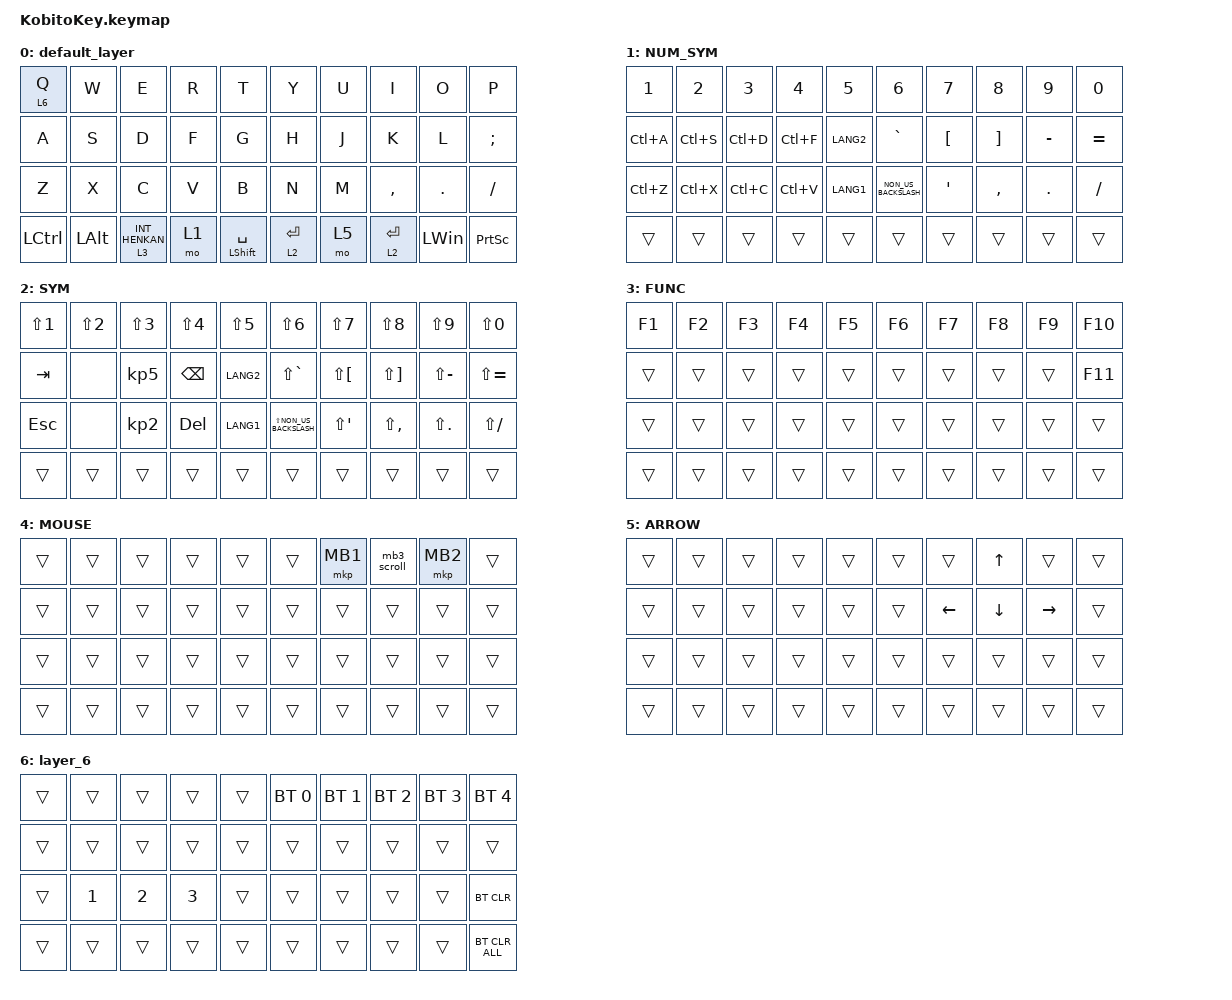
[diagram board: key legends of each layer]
#include <input/processors.dtsi>
#include <behaviors/rgbled_widget.dtsi>
#include <behaviors.dtsi>
#include <dt-bindings/zmk/bt.h>
#include <dt-bindings/zmk/keys.h>
#include <dt-bindings/zmk/pointing.h>

/ {
    /*
     * ジェスチャーパッド。
     *
     * gesture_left / gesture_right の中に zone1, zone2, ... と書いた数が、
     * そのままパッドの分割数になる(1〜5)。zone1 が一番上で、下へ順に並べる。
     * 解除の長押しをした位置のゾーンが、解除後に使われる。
     *
     * 各ゾーンの書き方:
     *
     *   zoneN {
     *       mode = "step";                          // 省略すると "step"
     *       bindings = <上げ 下げ ダブルタップ>;   // ちょうど3つ。使わないものは &none
     *       led-color = <3>;                        // 省略すると上から緑・黄・赤・マゼンタ・青
     *   };
     *
     * mode = "scroll" のゾーンは、マウスのホイールを直接動かすので、bindings を
     * 書かなくてよい(書けば、3つ目がダブルタップになる)。
     *
     * mode:
     *   "step"       なぞった量だけ、目盛りごとに連続して出す(音量など)。
     *                はじいても何も足さない
     *   "flick"      1回のスワイプで1回だけ出す(曲送りなど)
     *   "step-flip"  "step" と同じ動きに、はじいて離したとき一気に数段足す動きを
     *                加える。はじきの有無だけが "step" との違い
     *   "scroll"     なぞった量だけ、マウスのホイールを直接動かす
     *   "tap"        このゾーンで解除すると、パッド全体が選択肢の数に分かれ、長押しして
     *                振動が入ったとき、触れた場所の選択肢(bindings が上から順)を入力する
     *                (ダブルタップで double-bindings)
     *   "cycle"      選択肢をフリックで順に切り替える(上へ=次、下へ=前)。ダブルタップで
     *                反対側(double-bindings)と元を行き来する
     *
     * 「上げ」は、パッドを物理的に上へなぞった向き(右手・左手とも同じ)。
     * led-color は bit0 赤, bit1 緑, bit2 青(1=赤 2=緑 3=黄 4=青 5=マゼンタ 6=水色 7=白)。
     */
    gesture_left: gesture_left {
        compatible = "kobitokey,gesture-zones";

        zone1 {
            /* 輝度 */
            mode = "step";
            bindings = <&kp C_BRI_UP &kp C_BRI_DN &none>;
        };
        zone2 {
            /* 音量(ダブルタップでミュート) */
            mode = "step";
            bindings = <&kp C_VOL_UP &kp C_VOL_DN &kp C_MUTE>;
        };
    };

    gesture_right: gesture_right {
        compatible = "kobitokey,gesture-zones";

        zone1 {
            /*
             * Rhino のビューポートのタブ(画面右下の Perspective / Top / Front / Right)の
             * 切り替え。このゾーンで解除したあと、フリックで順に切り替える
             * (上へ=次、下へ=前。Perspective → Top → Front → Right → Perspective)。
             * ダブルタップは使わない(反対側のビューはタブにないため)。
             *
             * 送るのは Ctrl+Command+1〜4(Rhino 側の内部名は MacControlCommand1〜4)。
             * Rhino 側に、このキーのショートカットを登録しておく必要がある
             * (rhino_set_view_shortcuts.py を Rhino で1回実行する)。
             *   1 Perspective / 2 Top / 3 Front / 4 Right
             */
            mode = "cycle";
            bindings = <&kp LC(LG(N1)) &kp LC(LG(N2)) &kp LC(LG(N3)) &kp LC(LG(N4))>;
        };
        zone2 {
            /*
             * 選択肢(Claude Code デスクトップアプリの承認)。このゾーンで解除すると、
             * パッド全体が3つに分かれ(上から 1, 2, 3)、選びたい場所を長押しして
             * 振動が入ったとき、そのキーが入力される(入力しても、ロックは続く)。
             *   上 1(拒否)
             *   中 2(常に許可)
             *   下 3(一度だけ許可)
             * ⌘Enter / ⌘Shift+Enter は、画面によって意味が変わる・効かないので、番号キーにした。
             */
            mode = "tap";
            bindings = <&kp N1 &kp N2 &kp N3>;
        };
        zone3 {
            /* 曲送り(1回のスワイプで1曲、ダブルタップで再生/停止) */
            mode = "flick";
            bindings = <&kp C_NEXT &kp C_PREV &kp C_PP>;
        };
    };
};

/ {
    combos {
        compatible = "zmk,combos";

        combo_eisu {
            timeout-ms = <50>;
            key-positions = <12 13>;
            bindings = <&kp LANG2>;
        };

        combo_kana {
            timeout-ms = <50>;
            key-positions = <16 17>;
            bindings = <&kp LANG1>;
        };

        combo_esc {
            timeout-ms = <50>;
            key-positions = <0 1>;
            bindings = <&kp ESC>;
        };

        combo_tab {
            timeout-ms = <50>;
            key-positions = <10 11>;
            bindings = <&kp TAB>;
        };
    };

    macros {
        to_layer_0: to_layer_0 {
            compatible = "zmk,behavior-macro-one-param";
            #binding-cells = <1>;
            bindings = <&to 0 &macro_param_1to1 &kp MACRO_PLACEHOLDER>;
            label = "TO_LAYER_0";
        };

        /* Hold the scroll layer without sending MB3 to the host. */
        mb3_scroll: mb3_scroll {
            compatible = "zmk,behavior-macro";
            #binding-cells = <0>;
            wait-ms = <0>;
            tap-ms = <0>;
            bindings = <&macro_press &mo 6>,
                       <&macro_pause_for_release>,
                       <&macro_release &mo 6>;
        };
    };

    behaviors {
        td0: tap_dance_0 {
            compatible = "zmk,behavior-tap-dance";
            #binding-cells = <0>;
            tapping-term-ms = <200>;
            bindings = <&kp LCMD>, <&to 0>;
        };

        lt_to_layer_0: lt_to_layer_0 {
            compatible = "zmk,behavior-hold-tap";
            label = "LAYER_TAP_TO_0";
            bindings = <&mo>, <&to_layer_0>;

            #binding-cells = <2>;
            tapping-term-ms = <100>;
        };

        q_layer_tap: q_layer_tap {
            compatible = "zmk,behavior-hold-tap";
            label = "Q_LAYER_TAP_TO_0";
            flavor = "tap-preferred";
            bindings = <&mo>, <&to_layer_0>;

            #binding-cells = <2>;
            tapping-term-ms = <200>;
        };

        lt2_tap_preferred: lt2_tap_preferred {
            compatible = "zmk,behavior-hold-tap";
            #binding-cells = <2>;
            flavor = "tap-preferred";
            tapping-term-ms = <200>;
            quick-tap-ms = <200>;
            bindings = <&mo>, <&kp>;
        };
    };

    keymap {
        compatible = "zmk,keymap";

        default_layer {
            bindings = <
&q_layer_tap 6 Q     &kp W         &kp E                       &kp R &kp T                   &kp Y         &kp U    &kp I        &kp O        &kp P
&kp A               &kp S         &kp D                       &kp F &kp G                   &kp H         &kp J    &kp K        &kp L        &kp SEMICOLON
&kp Z               &kp X         &kp C                       &kp V &kp B                   &kp N         &kp M    &kp COMMA    &kp DOT      &kp SLASH
&kp LCTRL           &kp LEFT_ALT  &lt_to_layer_0 3 INT_HENKAN &mo 1 &mt LEFT_SHIFT SPACE    &lt2_tap_preferred 2 ENTER   &mo 5    &lt2_tap_preferred 2 ENTER  &kp LEFT_WIN &kp PRINTSCREEN
            >;
        };

        layer1 {
            label = "NUM_SYM";
            bindings = <
&kp NUMBER_1  &kp NUMBER_2  &kp NUMBER_3  &kp NUMBER_4  &kp NUMBER_5   &kp NUMBER_6          &kp NUMBER_7      &kp NUMBER_8       &kp NUMBER_9  &kp NUMBER_0
&kp LC(A)     &kp LC(S)     &kp LC(D)     &kp LC(F)     &kp LANG2      &kp GRAVE             &kp LEFT_BRACKET  &kp RIGHT_BRACKET  &kp MINUS     &kp EQUAL
&kp LC(Z)     &kp LC(X)     &kp LC(C)     &kp LC(V)     &kp LANG1      &kp NON_US_BACKSLASH  &kp SQT           &kp COMMA          &kp PERIOD    &kp SLASH
&trans        &trans        &trans        &trans        &trans         &trans                &trans            &trans             &trans        &trans
            >;
        };

        layer2 {
            label = "SYM";
            bindings = <
&kp LS(NUMBER_1)  &kp LS(NUMBER_2)  &kp LS(NUMBER_3)  &kp LS(NUMBER_4)  &kp LS(NUMBER_5)       &kp LS(NUMBER_6)          &kp LS(NUMBER_7)      &kp LS(NUMBER_8)       &kp LS(NUMBER_9)  &kp LS(NUMBER_0)
&kp TAB           &none             &kp KP_NUMBER_5   &kp BACKSPACE     &kp LANG2              &kp LS(GRAVE)             &kp LS(LEFT_BRACKET)  &kp LS(RIGHT_BRACKET)  &kp LS(MINUS)     &kp LS(EQUAL)
&kp ESCAPE        &none             &kp KP_NUMBER_2   &kp DELETE        &kp LANG1              &kp LS(NON_US_BACKSLASH)  &kp LS(SQT)           &kp LS(COMMA)          &kp LS(PERIOD)    &kp LS(SLASH)
&trans            &trans            &trans            &trans            &trans                 &trans                    &trans                &trans                 &trans            &trans
            >;
        };

        layer3 {
            label = "FUNC";
            bindings = <
&kp F1  &kp F2  &kp F3  &kp F4  &kp F5      &kp F6  &kp F7  &kp F8  &kp F9 &kp F10
&trans  &trans  &trans  &trans  &trans      &trans  &trans  &trans  &trans &kp F11
&trans  &trans  &trans  &trans  &trans      &trans  &trans  &trans  &trans &trans
&trans  &trans  &trans  &trans  &trans      &trans  &trans  &trans  &trans &trans
            >;
        };

        layer4 {
            label = "MOUSE";
            bindings = <
&trans  &trans  &trans  &trans  &trans      &trans  &mkp MB1  &mb3_scroll  &mkp MB2  &trans
&trans  &trans  &trans  &trans  &trans      &trans  &trans    &trans    &trans    &trans
&trans  &trans  &trans  &trans  &trans      &trans  &trans    &trans    &trans    &trans
&trans  &trans  &trans  &trans  &trans      &trans  &trans    &trans    &trans    &trans
            >;
        };

        layer5 {
            label = "ARROW";
            bindings = <
&trans  &trans  &trans  &trans  &trans      &trans  &trans          &kp UP_ARROW     &trans           &trans
&trans  &trans  &trans  &trans  &trans      &trans  &kp LEFT_ARROW  &kp DOWN         &kp RIGHT_ARROW  &trans
&trans  &trans  &trans  &trans  &trans      &trans  &trans          &trans           &trans           &trans
&trans  &trans  &trans  &trans  &trans      &trans  &trans          &trans           &trans           &trans
            >;
        };

        layer_6 {
            bindings = <
&trans  &trans        &trans        &trans        &trans             &bt BT_SEL 0  &bt BT_SEL 1  &bt BT_SEL 2  &bt BT_SEL 3  &bt BT_SEL 4
&trans  &trans        &trans        &trans        &trans             &trans        &trans        &trans        &trans        &trans
&trans  &kp NUMBER_1  &kp NUMBER_2  &kp NUMBER_3  &trans             &trans        &trans        &trans        &trans        &bt BT_CLR
&trans  &trans        &trans        &trans        &trans             &trans        &trans        &trans        &trans        &bt BT_CLR_ALL
            >;
        };
    };
};
